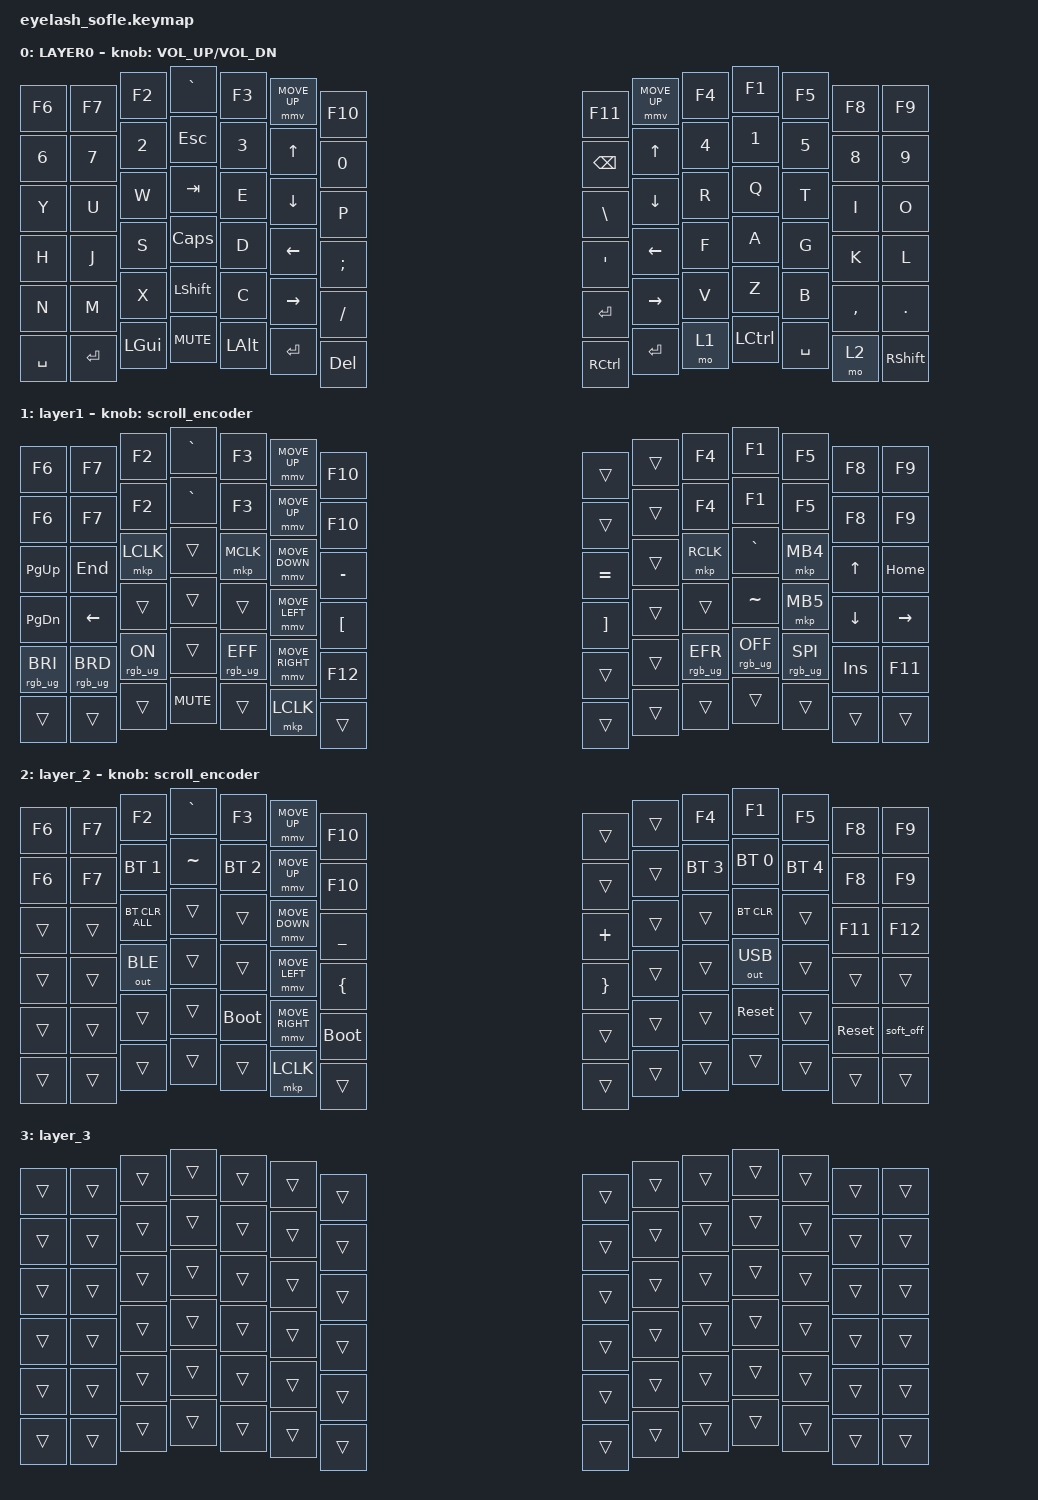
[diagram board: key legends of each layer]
#include <behaviors.dtsi>
#include <dt-bindings/zmk/bt.h>
#include <dt-bindings/zmk/keys.h>
#include <dt-bindings/zmk/mouse.h>
#include <dt-bindings/zmk/outputs.h>
#include <dt-bindings/zmk/rgb.h>


#include <input/processors.dtsi>

/*

   &mmv_input_listener {
       input-processors = <&zip_xy_scaler 2 1>;
   };

   &msc_input_listener {
       input-processors = <&zip_xy_scaler 2 1>;
   };

 */

#define ZMK_MOUSE_DEFAULT_MOVE_VAL 1200  // 600
#define ZMK_MOUSE_DEFAULT_SCRL_VAL 20    // 10


/ {
    behaviors {
        mmv {
            acceleration-exponent = <1>;      // 1
            time-to-max-speed-ms = <900>;    // 40
            delay-ms = <0>;                   // 0
        };

        msc {
            acceleration-exponent = <1>;      // 0
            time-to-max-speed-ms = <400>;      // 500
            delay-ms = <0>;                   //   10
        };
    };
/ {
    chosen {
        zmk,split = &splitkb;
    };
};
    scroll_encoder: scroll_encoder {
        compatible = "zmk,behavior-sensor-rotate";
        #sensor-binding-cells = <0>;
        bindings = <&msc SCRL_DOWN>, <&msc SCRL_UP>;

        tap-ms = <30>;
    };

    keymap {
        compatible = "zmk,keymap";

        layer0 {
            bindings = <
&kp GRAVE   &kp F1     &kp F2        &kp F3        &kp F4  &kp F5       &mmv MOVE_UP     &mmv MOVE_UP     &kp F6     &kp F7     &kp F8     &kp F9           &kp F10     &kp F11         
&kp ESC     &kp N1     &kp N2        &kp N3        &kp N4  &kp N5       &kp UP_ARROW     &kp UP_ARROW     &kp N6     &kp N7     &kp N8     &kp N9           &kp N0      &kp BACKSPACE
&kp TAB     &kp Q      &kp W         &kp E         &kp R   &kp T        &kp DOWN_ARROW   &kp DOWN_ARROW   &kp Y      &kp U      &kp I      &kp O            &kp P       &kp BSLH
&kp CAPS    &kp A      &kp S         &kp D         &kp F   &kp G        &kp LEFT_ARROW   &kp LEFT_ARROW   &kp H      &kp J      &kp K      &kp L            &kp SEMI    &kp APOS
&kp LSHFT   &kp Z      &kp X         &kp C         &kp V   &kp B        &kp RIGHT_ARROW  &kp RIGHT_ARROW  &kp N      &kp M      &kp COMMA  &kp DOT          &kp FSLH    &kp ENTER
&kp C_MUTE  &kp LCTRL  &kp LEFT_GUI  &kp LEFT_ALT  &mo 1   &kp SPACE    &kp ENTER        &kp ENTER        &kp SPACE  &kp ENTER  &mo 2      &kp RIGHT_SHIFT  &kp DELETE  &kp RCTRL
            >;

            sensor-bindings = <&inc_dec_kp C_VOLUME_UP C_VOL_DN>;
            display-name = "LAYER0";
        };

        layer_1 {
            bindings = <
&kp GRAVE   &kp F1           &kp F2          &kp F3           &kp F4           &kp F5             &mmv MOVE_UP     &trans     &kp F6           &kp F7           &kp F8      &kp F9     &kp F10           &trans
&kp GRAVE   &kp F1           &kp F2          &kp F3           &kp F4           &kp F5             &mmv MOVE_UP     &trans     &kp F6           &kp F7           &kp F8      &kp F9     &kp F10           &trans
&trans      &kp GRAVE        &mkp LCLK       &mkp MCLK        &mkp RCLK        &mkp MB4           &mmv MOVE_DOWN   &trans     &kp PG_UP        &kp END          &kp UP      &kp HOME   &kp MINUS         &kp EQUAL
&trans      &kp TILDE        &trans          &trans           &trans           &mkp MB5           &mmv MOVE_LEFT   &trans     &kp PG_DN        &kp LEFT         &kp DOWN    &kp RIGHT  &kp LEFT_BRACKET  &kp RIGHT_BRACKET
&trans      &rgb_ug RGB_OFF  &rgb_ug RGB_ON  &rgb_ug RGB_EFF  &rgb_ug RGB_EFR  &rgb_ug RGB_SPI    &mmv MOVE_RIGHT  &trans     &rgb_ug RGB_BRI  &rgb_ug RGB_BRD  &kp INSERT  &kp F11    &kp F12           &trans
&kp C_MUTE  &trans           &trans          &trans           &trans           &trans             &mkp LCLK        &trans     &trans           &trans           &trans      &trans     &trans            &trans
            >;

            display-name = "layer1";
            sensor-bindings = <&scroll_encoder>;
        };

        layer_2 {
            bindings = <
&kp GRAVE  &kp F1        &kp F2          &kp F3        &kp F4        &kp F5          &mmv MOVE_UP     &trans     &kp F6  &kp F7  &kp F8      &kp F9     &kp F10      &trans
&kp TILDE  &bt BT_SEL 0  &bt BT_SEL 1    &bt BT_SEL 2  &bt BT_SEL 3  &bt BT_SEL 4    &mmv MOVE_UP     &trans     &kp F6  &kp F7  &kp F8      &kp F9     &kp F10      &trans
&trans     &bt BT_CLR    &bt BT_CLR_ALL  &trans        &trans        &trans          &mmv MOVE_DOWN   &trans     &trans  &trans  &kp F11     &kp F12    &kp UNDER    &kp PLUS
&trans     &out OUT_USB  &out OUT_BLE    &trans        &trans        &trans          &mmv MOVE_LEFT   &trans     &trans  &trans  &trans      &trans     &kp LBRC     &kp RBRC
&trans     &sys_reset    &trans          &bootloader   &trans        &trans          &mmv MOVE_RIGHT  &trans     &trans  &trans  &sys_reset  &soft_off  &bootloader  &trans
&trans     &trans        &trans          &trans        &trans        &trans          &mkp LCLK        &trans     &trans  &trans  &trans      &trans     &trans       &trans
            >;

            sensor-bindings = <&scroll_encoder>;
        };

        layer_3 {
            bindings = <
&trans  &trans  &trans  &trans  &trans  &trans    &trans     &trans  &trans  &trans  &trans  &trans  &trans  &trans
&trans  &trans  &trans  &trans  &trans  &trans    &trans     &trans  &trans  &trans  &trans  &trans  &trans  &trans
&trans  &trans  &trans  &trans  &trans  &trans    &trans     &trans  &trans  &trans  &trans  &trans  &trans  &trans
&trans  &trans  &trans  &trans  &trans  &trans    &trans     &trans  &trans  &trans  &trans  &trans  &trans  &trans
&trans  &trans  &trans  &trans  &trans  &trans    &trans     &trans  &trans  &trans  &trans  &trans  &trans  &trans
&trans  &trans  &trans  &trans  &trans  &trans    &trans     &trans  &trans  &trans  &trans  &trans  &trans  &trans
            >;
        };
    };
};
